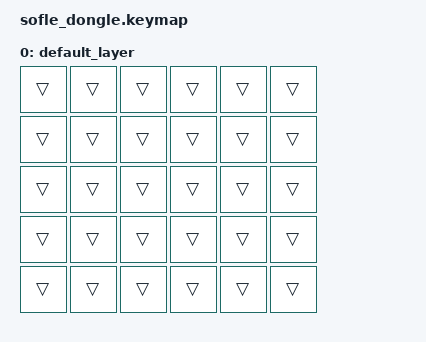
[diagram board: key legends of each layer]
#include <behaviors.dtsi>
#include <dt-bindings/zmk/keys.h>

/ {
    keymap {
        compatible = "zmk,keymap";

        default_layer {
            bindings = <
                &trans &trans &trans &trans &trans &trans
                &trans &trans &trans &trans &trans &trans
                &trans &trans &trans &trans &trans &trans
                &trans &trans &trans &trans &trans &trans
                &trans &trans &trans &trans &trans &trans
            >;
        };
    };
}; 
